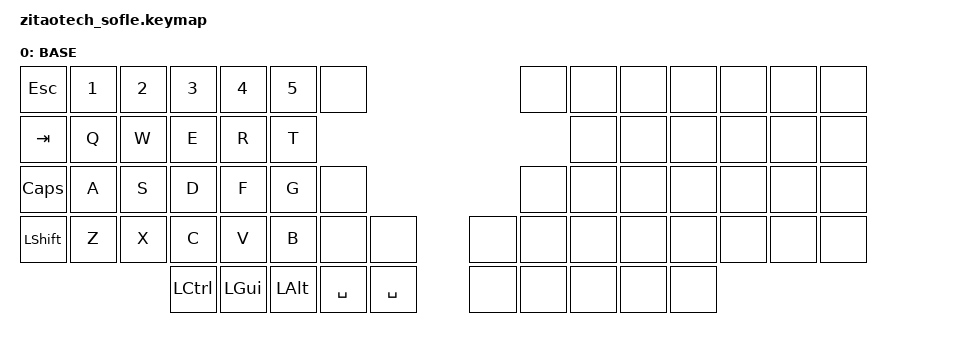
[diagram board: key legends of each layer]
/*
 * Copyright (c) 2025 ZitaoTech
 * SPDX-License-Identifier: MIT
 *
 * Single-layer keymap — multi-layer and layer-switching removed.
 * Edit bindings below to customize key layout.
 *
 * Transform: 16 columns × 6 rows
 * Physical: left 6 cols, center, right 6 cols
 * Unpopulated positions = &none
 */

#include <behaviors.dtsi>
#include <dt-bindings/zmk/keys.h>

/ {
    keymap {
        compatible = "zmk,keymap";

        default_layer {
            display-name = "BASE";
            bindings = <
&kp ESC  &kp N1  &kp N2  &kp N3  &kp N4  &kp N5  &none            &none            &none  &none  &none  &none  &none  &none
&kp TAB  &kp Q   &kp W   &kp E   &kp R   &kp T                                                                    &none  &none  &none  &none  &none  &none
&kp CAPS &kp A   &kp S   &kp D   &kp F   &kp G   &none            &none            &none  &none  &none  &none  &none  &none
&kp LSHFT &kp Z  &kp X   &kp C   &kp V   &kp B   &none   &none    &none   &none   &none  &none  &none  &none  &none  &none
         &kp LCTRL &kp LGUI &kp LALT &kp SPACE &kp SPACE                                                   &none  &none  &none  &none  &none
            >;
        };
    };
};
